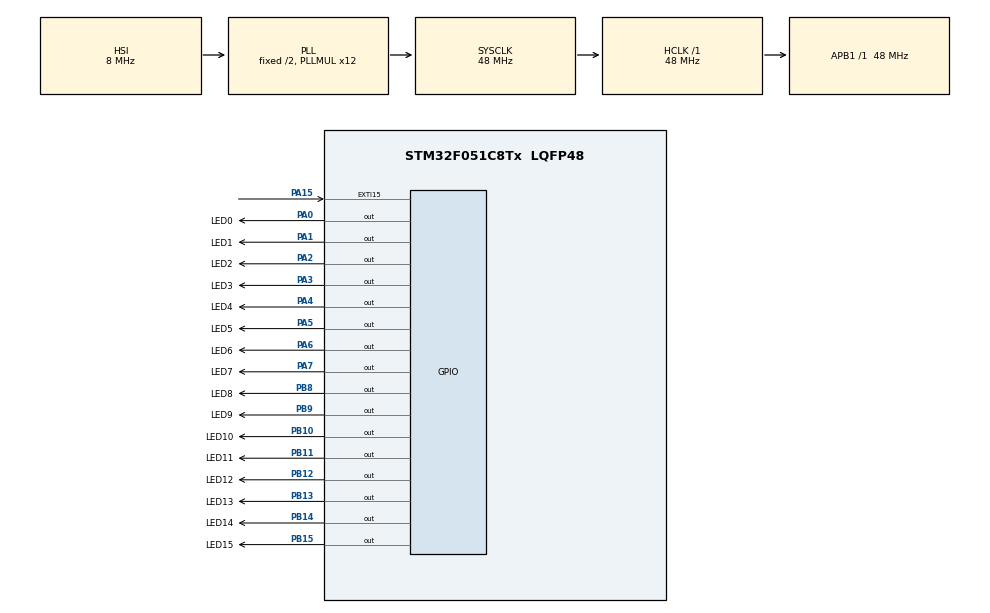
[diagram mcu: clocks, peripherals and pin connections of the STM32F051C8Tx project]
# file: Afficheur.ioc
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Mcu.Family=STM32F0
Mcu.Name=STM32F051C8Tx
Mcu.Package=LQFP48
NVIC.EXTI4_15_IRQn=true\:0\:0\:false\:false\:true\:true
PA0.GPIO_Label=LED0
PA0.PinState=GPIO_PIN_SET
PA0.Signal=GPIO_Output
PA1.GPIO_Label=LED1
PA1.PinState=GPIO_PIN_SET
PA1.Signal=GPIO_Output
PA15.GPIO_ModeDefaultEXTI=GPIO_MODE_IT_FALLING
PA15.Signal=GPXTI15
PA2.GPIO_Label=LED2
PA2.PinState=GPIO_PIN_SET
PA2.Signal=GPIO_Output
PA3.GPIO_Label=LED3
PA3.PinState=GPIO_PIN_SET
PA3.Signal=GPIO_Output
PA4.GPIO_Label=LED4
PA4.PinState=GPIO_PIN_SET
PA4.Signal=GPIO_Output
PA5.GPIO_Label=LED5
PA5.GPIO_Speed=GPIO_SPEED_FREQ_HIGH
PA5.PinState=GPIO_PIN_SET
PA5.Signal=GPIO_Output
PA6.GPIO_Label=LED6
PA6.PinState=GPIO_PIN_SET
PA6.Signal=GPIO_Output
PA7.GPIO_Label=LED7
PA7.PinState=GPIO_PIN_SET
PA7.Signal=GPIO_Output
PB10.GPIO_Label=LED10
PB10.PinState=GPIO_PIN_SET
PB10.Signal=GPIO_Output
PB11.GPIO_Label=LED11
PB11.PinState=GPIO_PIN_SET
PB11.Signal=GPIO_Output
PB12.GPIO_Label=LED12
PB12.PinState=GPIO_PIN_SET
PB12.Signal=GPIO_Output
PB13.GPIO_Label=LED13
PB13.GPIO_ModeDefaultOutputPP=GPIO_MODE_OUTPUT_PP
PB13.PinState=GPIO_PIN_SET
PB13.Signal=GPIO_Output
PB14.GPIO_Label=LED14
PB14.PinState=GPIO_PIN_SET
PB14.Signal=GPIO_Output
PB15.GPIO_Label=LED15
PB15.PinState=GPIO_PIN_SET
PB15.Signal=GPIO_Output
PB8.GPIO_Label=LED8
PB8.PinState=GPIO_PIN_SET
PB8.Signal=GPIO_Output
PB9.GPIO_Label=LED9
PB9.PinState=GPIO_PIN_SET
PB9.Signal=GPIO_Output
ProjectManager.HeapSize=0x200
ProjectManager.StackSize=0x400
ProjectManager.TargetToolchain=TrueSTUDIO
RCC.AHBFreq_Value=48000000
RCC.APB1Freq_Value=48000000
RCC.APB1TimFreq_Value=48000000
RCC.HCLKFreq_Value=48000000
RCC.PLLMUL=RCC_PLL_MUL12
RCC.SYSCLKFreq_VALUE=48000000
RCC.SYSCLKSource=RCC_SYSCLKSOURCE_PLLCLK
board=Afficheur

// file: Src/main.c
/**
  ******************************************************************************
  * @file           : main.c
  * @brief          : Main program body
  ******************************************************************************
  ** This notice applies to any and all portions of this file
  * that are not between comment pairs USER CODE BEGIN and
  * USER CODE END. Other portions of this file, whether
  * inserted by the user or by software development tools
  * are owned by their respective copyright owners.
  *
  * COPYRIGHT(c) 2020 STMicroelectronics
  *
  * Redistribution and use in source and binary forms, with or without modification,
  * are permitted provided that the following conditions are met:
  *   1. Redistributions of source code must retain the above copyright notice,
  *      this list of conditions and the following disclaimer.
  *   2. Redistributions in binary form must reproduce the above copyright notice,
  *      this list of conditions and the following disclaimer in the documentation
  *      and/or other materials provided with the distribution.
  *   3. Neither the name of STMicroelectronics nor the names of its contributors
  *      may be used to endorse or promote products derived from this software
  *      without specific prior written permission.
  *
  * THIS SOFTWARE IS PROVIDED BY THE COPYRIGHT HOLDERS AND CONTRIBUTORS "AS IS"
  * AND ANY EXPRESS OR IMPLIED WARRANTIES, INCLUDING, BUT NOT LIMITED TO, THE
  * IMPLIED WARRANTIES OF MERCHANTABILITY AND FITNESS FOR A PARTICULAR PURPOSE ARE
  * DISCLAIMED. IN NO EVENT SHALL THE COPYRIGHT HOLDER OR CONTRIBUTORS BE LIABLE
  * FOR ANY DIRECT, INDIRECT, INCIDENTAL, SPECIAL, EXEMPLARY, OR CONSEQUENTIAL
  * DAMAGES (INCLUDING, BUT NOT LIMITED TO, PROCUREMENT OF SUBSTITUTE GOODS OR
  * SERVICES; LOSS OF USE, DATA, OR PROFITS; OR BUSINESS INTERRUPTION) HOWEVER
  * CAUSED AND ON ANY THEORY OF LIABILITY, WHETHER IN CONTRACT, STRICT LIABILITY,
  * OR TORT (INCLUDING NEGLIGENCE OR OTHERWISE) ARISING IN ANY WAY OUT OF THE USE
  * OF THIS SOFTWARE, EVEN IF ADVISED OF THE POSSIBILITY OF SUCH DAMAGE.
  *
  ******************************************************************************
  */
#include "main.h"
#include "stm32f0xx_hal.h"

/* USER CODE BEGIN Includes */
#include "Amadou_Charles_Functions.h"
/* USER CODE END Includes */

/* USER CODE BEGIN PV */
/* Private variables ---------------------------------------------------------*/
volatile int flag_fourche = 0;
unsigned char lettreA[6] = {0x80, 0xF6, 0xF6, 0xF6, 0x80, 0xFF};

volatile int countlettre = 0;

// Declaration d'un tableau de char de A а Z
unsigned char lettre[26][6] = { {0x80, 0xF6, 0xF6, 0xF6, 0x80, 0xFF}, // A
								{0xFF, 0xFF, 0xFF, 0xFF, 0xFF, 0xFF}, // B
								{0xFF, 0xFF, 0xFF, 0xFF, 0xFF, 0xFF}, // C
								{0xFF, 0xFF, 0xFF, 0xFF, 0xFF, 0xFF}, // D
								{0xFF, 0xFF, 0xFF, 0xFF, 0xFF, 0xFF}, // E
								{0xFF, 0xFF, 0xFF, 0xFF, 0xFF, 0xFF}, // F
								{0xFF, 0xFF, 0xFF, 0xFF, 0xFF, 0xFF}, // G
								{0xFF, 0xFF, 0xFF, 0xFF, 0xFF, 0xFF}, // H
								{0xFF, 0xFF, 0xFF, 0xFF, 0xFF, 0xFF}, // I
								{0xFF, 0xFF, 0xFF, 0xFF, 0xFF, 0xFF}, // J
								{0x80, 0xF6, 0xF6, 0xF6, 0x80, 0xFF}, // K
								{0xFF, 0xFF, 0xFF, 0xFF, 0xFF, 0xFF}, // L
								{0xFF, 0xFF, 0xFF, 0xFF, 0xFF, 0xFF}, // M
								{0xFF, 0xFF, 0xFF, 0xFF, 0xFF, 0xFF}, // N
								{0xFF, 0xFF, 0xFF, 0xFF, 0xFF, 0xFF}, // O
								{0xFF, 0xFF, 0xFF, 0xFF, 0xFF, 0xFF}, // P
								{0xFF, 0xFF, 0xFF, 0xFF, 0xFF, 0xFF}, // Q
								{0xFF, 0xFF, 0xFF, 0xFF, 0xFF, 0xFF}, // R
								{0xFF, 0xFF, 0xFF, 0xFF, 0xFF, 0xFF}, // S
								{0xFF, 0xFF, 0xFF, 0xFF, 0xFF, 0xFF}, // T
								{0xFF, 0xFF, 0xFF, 0xFF, 0xFF, 0xFF}, // U
								{0xFF, 0xFF, 0xFF, 0xFF, 0xFF, 0xFF}, // V
								{0xFF, 0xFF, 0xFF, 0xFF, 0xFF, 0xFF}, // W
								{0xFF, 0xFF, 0xFF, 0xFF, 0xFF, 0xFF}, // X
								{0xFF, 0xFF, 0xFF, 0xFF, 0xFF, 0xFF}, // Y
								{0xFF, 0xFF, 0xFF, 0xFF, 0xFF, 0xFF}  // Z
							  };

// Declaration d'un caractиre vide
unsigned char vide[6] = {0xFF, 0xFF, 0xFF, 0xFF, 0xFF, 0xFF};

/* USER CODE END PV */

void SystemClock_Config(void);
static void MX_GPIO_Init(void);

/* USER CODE BEGIN PFP */
/* Private function prototypes -----------------------------------------------*/

/* USER CODE END PFP */

int main(void)
{

  /* MCU Configuration----------------------------------------------------------*/

  /* Reset of all peripherals, Initializes the Flash interface and the Systick. */
  HAL_Init();

  /* Configure the system clock */
  SystemClock_Config();

  /* Initialize all configured peripherals */
  MX_GPIO_Init();
  /* USER CODE BEGIN 2 */
  char mot[] = "a";

  /* USER CODE END 2 */

  /* Infinite loop */
  /* USER CODE BEGIN WHILE */
  while (1)
  {
	  /*RESET_BUS(GPIOA, 1);
	  SET_BUS(GPIOB, 8);
	  Attente(1106);
	  RESET_BUS(GPIOB, 8);
	  SET_BUS(GPIOA, 1);
	  Attente(1106);*/

	  /*RESET_BUS(GPIOA, 1);
	  RESET_BUS(GPIOB, 8);
	  Attente(1106*180);
	  SET_BUS(GPIOB, 8);
	  SET_BUS(GPIOA, 1);
	  Attente(1106);*/

	  /*while(LIRE_ENTREE(GPIOA, 15) == 1);
	  SET_BUS(GPIOA, 1);
	  SET_BUS(GPIOB, 8);
	  Attente(1106);
	  RESET_BUS(GPIOA, 1);
	  RESET_BUS(GPIOB, 8);

	  while(LIRE_ENTREE(GPIOA, 15) == 0);*/

	  if (flag_fourche == 1){

		flag_fourche = 0;

		/*SET_BUS(GPIOA, 1);
		SET_BUS(GPIOB, 8);
		Attente(1106);
		RESET_BUS(GPIOA, 1);
		RESET_BUS(GPIOB, 8);

		Attente(67*1106);

		SET_BUS(GPIOA, 1);
		SET_BUS(GPIOB, 8);
		Attente(1106);
		RESET_BUS(GPIOA, 1);
		RESET_BUS(GPIOB, 8);*/

		/*GPIOA->ODR &= lettreA[0];
		Attente(1106);
		GPIOA->ODR &= lettreA[1];
		Attente(1106);*/

		/*SET_PATTE(GPIOA, 0);
		SET_PATTE(GPIOA, 1);
		SET_PATTE(GPIOA, 2);
		SET_PATTE(GPIOA, 3);
		SET_PATTE(GPIOA, 4);
		SET_PATTE(GPIOA, 5);
		SET_PATTE(GPIOA, 6);
		RESET_PATTE(GPIOA, 7);
		Attente(1106);
		SET_PATTE(GPIOA, 0);
		RESET_PATTE(GPIOA, 1);
		RESET_PATTE(GPIOA, 2);
		SET_PATTE(GPIOA, 3);
		RESET_PATTE(GPIOA, 4);
		RESET_PATTE(GPIOA, 5);
		RESET_PATTE(GPIOA, 6);
		RESET_PATTE(GPIOA, 7);
		Attente(1106);*/

		/*GPIOA->ODR |= 0xFF;
		GPIOA->ODR &= lettreA[0];
		Attente(1106);
		GPIOA->ODR |= 0xFF;
		GPIOA->ODR &= lettreA[1];
		Attente(1106);
		GPIOA->ODR |= 0xFF;
		GPIOA->ODR &= lettreA[5];
		Attente(1106);*/

		/*for(countlettre = 0; countlettre < 6; countlettre++){
			GPIOA->ODR |= 0xFF;
			GPIOA->ODR &= lettreA[countlettre];
			Attente(1106);
		}*/

		//afficheChar(GPIOA, 0, lettreA);

		volatile int tailleMot = sizeof(mot)/sizeof(char);

		// Afficher un mot de 1 а 60 caractиres

		volatile int i;
		int nombreCaractere = 0;
		for (i = 0; i < tailleMot; i++){
			if(mot[i] != ' '){
				if (0 <= nombreCaractere && nombreCaractere <= 30){
					afficheChar(GPIOA, 0, &(lettre[mot[i] - 65][0]));
					nombreCaractere++;
				}
				else if (31 <= nombreCaractere && nombreCaractere <= 60){
					afficheChar(GPIOB, 8, &(lettre[mot[i] - 65][0]));
					nombreCaractere++;
				}
			}
			else{
				if (0 <= nombreCaractere && nombreCaractere <= 30){
					afficheChar(GPIOA, 0, vide);
				}
				else if (31 <= nombreCaractere && nombreCaractere <= 60){
					afficheChar(GPIOB, 8, vide);
				}

			}
		}

	  }

  /* USER CODE END WHILE */

  }

}

void SystemClock_Config(void)
{

  RCC_OscInitTypeDef RCC_OscInitStruct;
  RCC_ClkInitTypeDef RCC_ClkInitStruct;

    /**Initializes the CPU, AHB and APB busses clocks
    */
  RCC_OscInitStruct.OscillatorType = RCC_OSCILLATORTYPE_HSI;
  RCC_OscInitStruct.HSIState = RCC_HSI_ON;
  RCC_OscInitStruct.HSICalibrationValue = 16;
  RCC_OscInitStruct.PLL.PLLState = RCC_PLL_ON;
  RCC_OscInitStruct.PLL.PLLSource = RCC_PLLSOURCE_HSI;
  RCC_OscInitStruct.PLL.PLLMUL = RCC_PLL_MUL12;
  RCC_OscInitStruct.PLL.PREDIV = RCC_PREDIV_DIV1;
  if (HAL_RCC_OscConfig(&RCC_OscInitStruct) != HAL_OK)
  {
    _Error_Handler(__FILE__, __LINE__);
  }

    /**Initializes the CPU, AHB and APB busses clocks
    */
  RCC_ClkInitStruct.ClockType = RCC_CLOCKTYPE_HCLK|RCC_CLOCKTYPE_SYSCLK
                              |RCC_CLOCKTYPE_PCLK1;
  RCC_ClkInitStruct.SYSCLKSource = RCC_SYSCLKSOURCE_PLLCLK;
  RCC_ClkInitStruct.AHBCLKDivider = RCC_SYSCLK_DIV1;
  RCC_ClkInitStruct.APB1CLKDivider = RCC_HCLK_DIV1;

  if (HAL_RCC_ClockConfig(&RCC_ClkInitStruct, FLASH_LATENCY_1) != HAL_OK)
  {
    _Error_Handler(__FILE__, __LINE__);
  }

    /**Configure the Systick interrupt time
    */
  HAL_SYSTICK_Config(HAL_RCC_GetHCLKFreq()/1000);

    /**Configure the Systick
    */
  HAL_SYSTICK_CLKSourceConfig(SYSTICK_CLKSOURCE_HCLK);

  /* SysTick_IRQn interrupt configuration */
  HAL_NVIC_SetPriority(SysTick_IRQn, 0, 0);
}

/** Configure pins as
        * Analog
        * Input
        * Output
        * EVENT_OUT
        * EXTI
*/
static void MX_GPIO_Init(void)
{

  GPIO_InitTypeDef GPIO_InitStruct;

  /* GPIO Ports Clock Enable */
  __HAL_RCC_GPIOA_CLK_ENABLE();
  __HAL_RCC_GPIOB_CLK_ENABLE();

  /*Configure GPIO pin Output Level */
  HAL_GPIO_WritePin(GPIOA, LED0_Pin|LED1_Pin|LED2_Pin|LED3_Pin
                          |LED4_Pin|LED5_Pin|LED6_Pin|LED7_Pin, GPIO_PIN_SET);

  /*Configure GPIO pin Output Level */
  HAL_GPIO_WritePin(GPIOB, LED10_Pin|LED11_Pin|LED12_Pin|LED13_Pin
                          |LED14_Pin|LED15_Pin|LED8_Pin|LED9_Pin, GPIO_PIN_SET);

  /*Configure GPIO pins : LED0_Pin LED1_Pin LED2_Pin LED3_Pin
                           LED4_Pin LED6_Pin LED7_Pin */
  GPIO_InitStruct.Pin = LED0_Pin|LED1_Pin|LED2_Pin|LED3_Pin
                          |LED4_Pin|LED6_Pin|LED7_Pin;
  GPIO_InitStruct.Mode = GPIO_MODE_OUTPUT_PP;
  GPIO_InitStruct.Pull = GPIO_NOPULL;
  GPIO_InitStruct.Speed = GPIO_SPEED_FREQ_LOW;
  HAL_GPIO_Init(GPIOA, &GPIO_InitStruct);

  /*Configure GPIO pin : LED5_Pin */
  GPIO_InitStruct.Pin = LED5_Pin;
  GPIO_InitStruct.Mode = GPIO_MODE_OUTPUT_PP;
  GPIO_InitStruct.Pull = GPIO_NOPULL;
  GPIO_InitStruct.Speed = GPIO_SPEED_FREQ_HIGH;
  HAL_GPIO_Init(LED5_GPIO_Port, &GPIO_InitStruct);

  /*Configure GPIO pins : LED10_Pin LED11_Pin LED12_Pin LED13_Pin
                           LED14_Pin LED15_Pin LED8_Pin LED9_Pin */
  GPIO_InitStruct.Pin = LED10_Pin|LED11_Pin|LED12_Pin|LED13_Pin
                          |LED14_Pin|LED15_Pin|LED8_Pin|LED9_Pin;
  GPIO_InitStruct.Mode = GPIO_MODE_OUTPUT_PP;
  GPIO_InitStruct.Pull = GPIO_NOPULL;
  GPIO_InitStruct.Speed = GPIO_SPEED_FREQ_LOW;
  HAL_GPIO_Init(GPIOB, &GPIO_InitStruct);

  /*Configure GPIO pin : PA15 */
  GPIO_InitStruct.Pin = GPIO_PIN_15;
  GPIO_InitStruct.Mode = GPIO_MODE_IT_FALLING;
  GPIO_InitStruct.Pull = GPIO_NOPULL;
  HAL_GPIO_Init(GPIOA, &GPIO_InitStruct);

  /* EXTI interrupt init*/
  HAL_NVIC_SetPriority(EXTI4_15_IRQn, 0, 0);
  HAL_NVIC_EnableIRQ(EXTI4_15_IRQn);

}

/* USER CODE BEGIN 4 */

void HAL_GPIO_EXTI_Callback(uint16_t GPIO_Pin)
{
	if(GPIO_Pin == GPIO_PIN_15){
		flag_fourche = 1;

		/*SET_BUS(GPIOA, 1);
		SET_BUS(GPIOB, 8);
		Attente(1106);
		RESET_BUS(GPIOA, 1);
		RESET_BUS(GPIOB, 8);*/
	}

}

/* USER CODE END 4 */

void _Error_Handler(char *file, int line)
{
  while(1)
  {
  }
}

/************************ (C) COPYRIGHT STMicroelectronics *****END OF FILE****/
